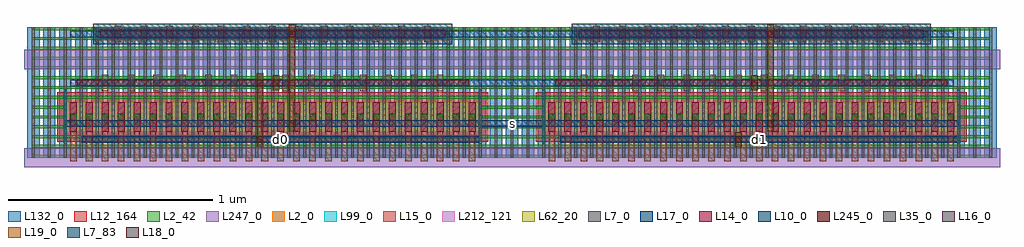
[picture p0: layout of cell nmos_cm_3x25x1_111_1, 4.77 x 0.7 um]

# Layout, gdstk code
import gdstk
lib = gdstk.Library(unit=1e-6, precision=1e-12)
def R(c, l, rs):  # rectangles x0, y0, x1, y1
    for r in rs: c.add(gdstk.rectangle(r[:2], r[2:], *l))
def A(c, l, x, y, w, h, nx, ny, dx, dy):  # array of equal rectangles
    R(c, l, [(x+i*dx, y+j*dy, x+i*dx+w, y+j*dy+h) for i in range(nx) for j in range(ny)])
L2_0 = (2, 0)
L2_42 = (2, 42)
L7_0 = (7, 0)
L7_83 = (7, 83)
L10_0 = (10, 0)
L12_164 = (12, 164)
L14_0 = (14, 0)
L15_0 = (15, 0)
L16_0 = (16, 0)
L17_0 = (17, 0)
L18_0 = (18, 0)
L19_0 = (19, 0)
L35_0 = (35, 0)
L62_20 = (62, 20)
L99_0 = (99, 0)
L132_0 = (132, 0)
L212_121 = (212, 121)
L245_0 = (245, 0)
L247_0 = (247, 0)

nmos_cm_3x25x1_111_1 = lib.new_cell('nmos_cm_3x25x1_111_1')
R(nmos_cm_3x25x1_111_1, L2_0, [(0.186,0.127,2.214,0.271), (2.526,0.127,4.554,0.271), (0.3425,0.575,2.0575,0.635), (2.6825,0.575,4.3975,0.635)])
A(nmos_cm_3x25x1_111_1, L2_42, 0.023, 0, 4.68, 0.014, 1, 14, 0, 0.048)
A(nmos_cm_3x25x1_111_1, L7_0, 0.023, 0, 0.014, 0.638, 61, 1, 0.078, 0)
R(nmos_cm_3x25x1_111_1, L7_83, [(0.179,0.067,0.193,0.331), (2.207,0.067,2.221,0.331), (2.519,0.067,2.533,0.331), (4.547,0.067,4.561,0.331)])
R(nmos_cm_3x25x1_111_1, L10_0, [(0.3225,0.555,2.0775,0.655), (2.6625,0.555,4.4175,0.655)])
R(nmos_cm_3x25x1_111_1, L12_164, [(0.147,0.079,2.253,0.319), (2.487,0.079,4.593,0.319)])
A(nmos_cm_3x25x1_111_1, L14_0, 0.208, 0.127, 0.034, 0.144, 26, 1, 0.078, 0)
A(nmos_cm_3x25x1_111_1, L14_0, 2.548, 0.127, 0.034, 0.144, 26, 1, 0.078, 0)
R(nmos_cm_3x25x1_111_1, L14_0, [(0.3575,0.585,2.0425,0.625), (2.6975,0.585,4.3825,0.625)])
A(nmos_cm_3x25x1_111_1, L15_0, 0.209, -0.017, 0.032, 0.288, 26, 1, 0.078, 0)
A(nmos_cm_3x25x1_111_1, L15_0, 2.549, -0.017, 0.032, 0.288, 26, 1, 0.078, 0)
A(nmos_cm_3x25x1_111_1, L15_0, 0.365, 0.326, 0.032, 0.08, 14, 1, 0.126, 0)
A(nmos_cm_3x25x1_111_1, L15_0, 2.705, 0.326, 0.032, 0.08, 14, 1, 0.126, 0)
A(nmos_cm_3x25x1_111_1, L15_0, 0.428, 0.565, 0.032, 0.08, 13, 1, 0.126, 0)
A(nmos_cm_3x25x1_111_1, L15_0, 2.768, 0.565, 0.032, 0.08, 13, 1, 0.126, 0)
A(nmos_cm_3x25x1_111_1, L16_0, 0.287, 0.072, 0.032, 0.032, 13, 1, 0.156, 0)
A(nmos_cm_3x25x1_111_1, L16_0, 2.627, 0.072, 0.032, 0.032, 13, 1, 0.156, 0)
A(nmos_cm_3x25x1_111_1, L16_0, 0.209, 0.15, 0.032, 0.032, 13, 1, 0.156, 0)
A(nmos_cm_3x25x1_111_1, L16_0, 2.549, 0.15, 0.032, 0.032, 13, 1, 0.156, 0)
A(nmos_cm_3x25x1_111_1, L16_0, 0.365, 0.35, 0.032, 0.032, 14, 1, 0.126, 0)
A(nmos_cm_3x25x1_111_1, L16_0, 2.705, 0.35, 0.032, 0.032, 14, 1, 0.126, 0)
A(nmos_cm_3x25x1_111_1, L16_0, 0.428, 0.589, 0.032, 0.032, 13, 1, 0.126, 0)
A(nmos_cm_3x25x1_111_1, L16_0, 2.768, 0.589, 0.032, 0.032, 13, 1, 0.126, 0)
R(nmos_cm_3x25x1_111_1, L17_0, [(0.267,0.072,2.211,0.104), (2.607,0.072,4.551,0.104), (0.186,0.15,2.214,0.182), (2.204,0.15,2.536,0.182), (2.526,0.15,4.554,0.182), (0.209,0.35,2.191,0.382), (2.181,0.35,2.559,0.382), (2.549,0.35,4.531,0.382), (0.209,0.589,2.191,0.621), (2.181,0.589,2.559,0.621), (2.549,0.589,4.531,0.621)])
R(nmos_cm_3x25x1_111_1, L18_0, [(1.122,0.072,1.154,0.104), (3.462,0.072,3.494,0.104), (1.278,0.15,1.31,0.182), (3.618,0.15,3.65,0.182), (1.122,0.35,1.154,0.382), (1.2,0.35,1.232,0.382), (3.54,0.35,3.572,0.382), (1.278,0.589,1.31,0.621), (3.618,0.589,3.65,0.621)])
R(nmos_cm_3x25x1_111_1, L19_0, [(1.122,0.052,1.154,0.124), (3.462,0.052,3.494,0.124), (1.122,0.114,1.154,0.412), (1.278,0.13,1.31,0.202), (3.618,0.13,3.65,0.202), (1.278,0.192,1.31,0.651), (3.618,0.192,3.65,0.651), (1.2,0.33,1.232,0.402), (3.54,0.33,3.572,0.402)])
A(nmos_cm_3x25x1_111_1, L35_0, 0.209, 0.183, 0.032, 0.032, 26, 1, 0.078, 0)
A(nmos_cm_3x25x1_111_1, L35_0, 2.549, 0.183, 0.032, 0.032, 26, 1, 0.078, 0)
A(nmos_cm_3x25x1_111_1, L35_0, 0.365, 0.35, 0.032, 0.032, 14, 1, 0.126, 0)
A(nmos_cm_3x25x1_111_1, L35_0, 2.705, 0.35, 0.032, 0.032, 14, 1, 0.126, 0)
A(nmos_cm_3x25x1_111_1, L35_0, 0.428, 0.589, 0.032, 0.032, 13, 1, 0.126, 0)
A(nmos_cm_3x25x1_111_1, L35_0, 2.768, 0.589, 0.032, 0.032, 13, 1, 0.126, 0)
R(nmos_cm_3x25x1_111_1, L62_20, [(0.186,0.127,2.214,0.271), (2.526,0.127,4.554,0.271)])
R(nmos_cm_3x25x1_111_1, L99_0, [(0.186,0.127,2.214,0.271), (2.526,0.127,4.554,0.271), (0.3525,0.58,2.0475,0.63), (2.6925,0.58,4.3875,0.63)])
A(nmos_cm_3x25x1_111_1, L132_0, 0, 0, 0.06, 0.638, 61, 1, 0.078, 0)
R(nmos_cm_3x25x1_111_1, L212_121, [(0.186,0.127,2.214,0.271), (2.526,0.127,4.554,0.271)])
R(nmos_cm_3x25x1_111_1, L245_0, [(0.241,0.351,2.159,0.381), (2.581,0.351,4.499,0.381)])
R(nmos_cm_3x25x1_111_1, L247_0, [(-0.016,-0.047,2.416,0.047), (2.324,-0.047,4.756,0.047), (-0.016,0.433,2.416,0.527), (2.324,0.433,4.756,0.527)])
nmos_cm_3x25x1_111_1.add(gdstk.Label('s', (2.37,0.166), layer=16, texttype=20))
nmos_cm_3x25x1_111_1.add(gdstk.Label('d1', (3.579,0.088), layer=16, texttype=20))
nmos_cm_3x25x1_111_1.add(gdstk.Label('d0', (1.239,0.088), layer=16, texttype=20))

lib.write_gds('nmos_cm_3x25x1_111_1.gds')
